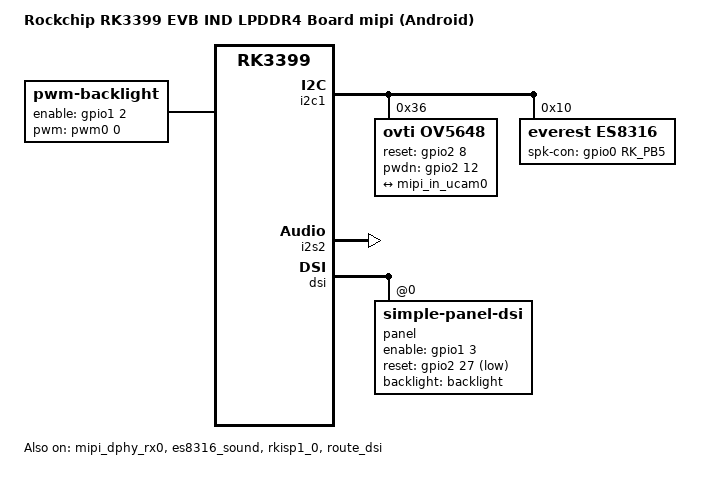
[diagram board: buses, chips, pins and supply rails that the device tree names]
// SPDX-License-Identifier: (GPL-2.0+ OR MIT)
/*
 * Copyright (c) 2019 Fuzhou Rockchip Electronics Co., Ltd
 */

/dts-v1/;

#include "rk3399-evb-ind-r100.dtsi"
#include "rk3399-android.dtsi"
//#include "lcd/lcd-dsi-JL101-CC1001-27J.dtsi"
#include "lcd/lcd-dsi-JJ101I008-A6-A5.dtsi"

/ {
	model = "Rockchip RK3399 EVB IND LPDDR4 Board mipi (Android)";
	compatible = "rockchip,android", "rockchip,rk3399-evb-ind-lpddr4-android-avb-r100-mipi", "rockchip,rk3399";
	chosen: chosen {
		bootargs = "earlycon=uart8250,mmio32,0xff1a0000 console=ttyFIQ0 androidboot.baseband=N/A androidboot.veritymode=enforcing androidboot.hardware=rk30board androidboot.console=ttyFIQ0 init=/init initrd=0x62000001,0x00800000 coherent_pool=1m";
	};

	iram: sram@ff8d0000 {
		compatible = "mmio-sram";
		reg = <0x0 0xff8d0000 0x0 0x20000>;
	};

	backlight: backlight {
		status = "okay";
		compatible = "pwm-backlight";
		pwms = <&pwm0 0 500000 0>;
		brightness-levels = <
			  0   1   2   3   4   5   6   7
			  8   9  10  11  12  13  14  15
			 16  17  18  19  20  21  22  23
			 24  25  26  27  28  29  30  31
			 32  33  34  35  36  37  38  39
			 40  41  42  43  44  45  46  47
			 48  49  50  51  52  53  54  55
			 56  57  58  59  60  61  62  63
			 64  65  66  67  68  69  70  71
			 72  73  74  75  76  77  78  79
			 80  81  82  83  84  85  86  87
			 88  89  90  91  92  93  94  95
			 96  97  98  99 100 101 102 103
			104 105 106 107 108 109 110 111
			112 113 114 115 116 117 118 119
			120 121 122 123 124 125 126 127
			128 129 130 131 132 133 134 135
			136 137 138 139 140 141 142 143
			144 145 146 147 148 149 150 151
			152 153 154 155 156 157 158 159
			160 161 162 163 164 165 166 167
			168 169 170 171 172 173 174 175
			176 177 178 179 180 181 182 183
			184 185 186 187 188 189 190 191
			192 193 194 195 196 197 198 199
			200 201 202 203 204 205 206 207
			208 209 210 211 212 213 214 215
			216 217 218 219 220 221 222 223
			224 225 226 227 228 229 230 231
			232 233 234 235 236 237 238 239
			240 241 242 243 244 245 246 247
			248 249 250 251 252 253 254 255>;
		
		default-brightness-level = <200>;
		enable-gpios = <&gpio1 2 GPIO_ACTIVE_HIGH>;
		pinctrl-names = "default";
		pinctrl-0 = <&bl_en>;
	};

/*
	vcc_lcd: vcc-lcd {
		compatible = "regulator-fixed";
		regulator-name = "vcc_lcd";
		startup-delay-us = <20000>;
		enable-active-high;
		regulator-min-microvolt = <3300000>;
		regulator-max-microvolt = <3300000>;
		regulator-boot-on;
		vin-supply = <&vcc_sys>;
	};
*/

	test-power {
		status = "okay";
	};
};

&dmac_bus {
	iram = <&iram>;
	rockchip,force-iram;
};

&i2c1 {
	status = "okay";
	ov5648: ov5648@36 {
		compatible = "ovti,ov5648";
		status = "okay";
		reg = <0x36>;
		clocks = <&cru SCLK_CIF_OUT>;
		clock-names = "xvclk";
		/* avdd-supply = <>; */
		/* dvdd-supply = <>; */
		/* dovdd-supply = <>; */
		/* reset-gpios = <>; */
		//dovdd-supply = <&vcc1v8_dvp>;          
		reset-gpios = <&gpio2 8 GPIO_ACTIVE_HIGH>; 
		pwdn-gpios = <&gpio2 12 GPIO_ACTIVE_HIGH>;
		pinctrl-names = "rockchip,camera_default";
		pinctrl-0 = <&cif_clkout>;
		rockchip,camera-module-index = <0>;
		rockchip,camera-module-facing = "front";
		rockchip,camera-module-name = "default";
		rockchip,camera-module-lens-name = "default";                

		port {
			ucam_out0: endpoint {
				remote-endpoint = <&mipi_in_ucam0>;
				//remote-endpoint = <&mipi_in_ucam1>;
				data-lanes = <1 2>;
			};
		};
	};

	es8316: es8316@10 {
		#sound-dai-cells = <0>;
		compatible = "everest,es8316";
		reg = <0x10>;
		clocks = <&cru SCLK_I2S_8CH_OUT>;
		clock-names = "mclk";
		pinctrl-names = "default";
		pinctrl-0 = <&i2s_8ch_mclk>;

		spk-con-gpio = <&gpio0 RK_PB5 GPIO_ACTIVE_HIGH>;//LPDDR4
		//spk_volume = <0xbb>; //WT1013 8欧2W
		spk_volume = <0x22>;   //WL1033 4欧2W
		extcon = <&rk_headset>;
		status = "okay";
	};
};

&i2s2 {
	#sound-dai-cells = <0>;
	status = "okay";
};

&isp0_mmu {
	status = "okay";
};

&isp1_mmu {
	status = "okay";
};

&mipi_dphy_rx0 {
	status = "okay";

	ports {
		#address-cells = <1>;
		#size-cells = <0>;

		port@0 {
			reg = <0>;
			#address-cells = <1>;
			#size-cells = <0>;

			mipi_in_ucam0: endpoint@1 {
				reg = <1>;
				remote-endpoint = <&ucam_out0>;
				data-lanes = <1 2>;
			};
		};

		port@1 {
			reg = <1>;
			#address-cells = <1>;
			#size-cells = <0>;

			dphy_rx0_out: endpoint@0 {
				reg = <0>;
				remote-endpoint = <&isp0_mipi_in>;
			};
		};
	};
};



&es8316_sound {
	status = "okay";
};

&rkisp1_0 {
	status = "okay";

	port {
		#address-cells = <1>;
		#size-cells = <0>;

		isp0_mipi_in: endpoint@0 {
			reg = <0>;
			remote-endpoint = <&dphy_rx0_out>;
		};
	};
};

&i2s1 {
	#sound-dai-cells = <0>;
	status = "disabled";
};

&dsi {
	status = "okay";
	panel@0 {
		compatible ="simple-panel-dsi";
		reg = <0>;
		backlight = <&backlight>;
		enable-gpios = <&gpio1 3 GPIO_ACTIVE_HIGH>;
		reset-gpios = <&gpio2 27 GPIO_ACTIVE_LOW>;
	};
};

&route_dsi {
	status = "okay";
};

/*
 * if enable dp_sound, should disable spdif_sound and spdif_out
 */
 /*
&spdif_out {
	status = "disabled";
};

&spdif_sound {
	status = "disabled";
};

&i2s0 {
	#sound-dai-cells = <0>;
	status = "okay";
};
*/
&pinctrl {
	/*lcd-panel {
		lcd_panel_reset: lcd-panel-reset {
			rockchip,pins = <1 23 RK_FUNC_GPIO &pcfg_pull_up>;
		};
	};*/
};

